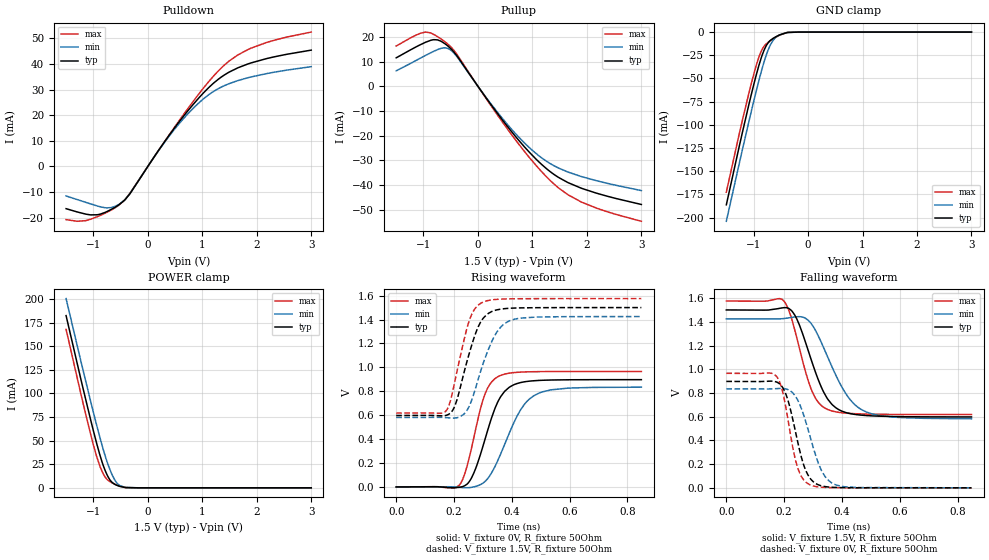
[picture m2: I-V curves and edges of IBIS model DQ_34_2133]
| [Disclaimer]  This software code and all associated documentation, comments
| or other information (collectively "Software") is provided
| "AS IS" without warranty of any kind. MICRON TECHNOLOGY, INC.
| ("MTI") EXPRESSLY DISCLAIMS ALL WARRANTIES EXPRESS OR IMPLIED,
| INCLUDING BUT NOT LIMITED TO, NONINFRINGEMENT OF THIRD PARTY
| RIGHTS, AND ANY IMPLIED WARRANTIES OF MERCHANTABILITY OR
| FITNESS FOR ANY PARTICULAR PURPOSE. MTI DOES NOT WARRANT THAT
| THE SOFTWARE WILL MEET YOUR REQUIREMENTS, OR THAT THE
| OPERATION OF THE SOFTWARE WILL BE UNINTERRUPTED OR ERROR-FREE.
| FURTHERMORE, MTI DOES NOT MAKE ANY REPRESENTATIONS REGARDING
| THE USE OR THE RESULTS OF THE USE OF THE SOFTWARE IN TERMS OF
| ITS CORRECTNESS, ACCURACY, RELIABILITY, OR OTHERWISE. THE
| ENTIRE RISK ARISING OUT OF USE OR PERFORMANCE OF THE SOFTWARE
| REMAINS WITH YOU. IN NO EVENT SHALL MTI, ITS AFFILIATED
| COMPANIES OR THEIR SUPPLIERS BE LIABLE FOR ANY DIRECT,
| INDIRECT, CONSEQUENTIAL, INCIDENTAL, OR SPECIAL DAMAGES
| (INCLUDING, WITHOUT LIMITATION, DAMAGES FOR LOSS OF PROFITS,
| BUSINESS INTERRUPTION, OR LOSS OF INFORMATION) ARISING OUT OF
| YOUR USE OF OR INABILITY TO USE THE SOFTWARE, EVEN IF MTI HAS
| BEEN ADVISED OF THE POSSIBILITY OF SUCH DAMAGES. Because some
| jurisdictions prohibit the exclusion or limitation of
| liability for consequential or incidental damages, the above
| limitation may not apply to you.
| [Copyright] Copyright 2015 Micron Technology, Inc. All rights reserved.
| From v00h_v5p0.ibs, Micron Technology,Inc.
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| MODEL DQ_34_2133 (34 Ohm Data I/O with no ODT, 2133Mbps)
[Model]   DQ_34_2133
Model_type   I/O
Vinl = 615.000mV
Vinh = 885.000mV
Vmeas = 750.000mV
Vref = 750.000mV
Cref = 0.0pF
Rref = 25.000Ohm
|   typ   min   max
|C_comp   1.100pF   1.025pF   1.175pF
C_comp_pullup   0.5500pF   0.5125pF   0.5875pF
C_comp_pulldown   0.5500pF   0.5125pF   0.5875pF
[Model Spec]
| Input threshold voltage corners
Vinl   0.6150V   0.5775V   0.6525V
Vinh   0.8850V   0.8475V   0.9225V
| Measurement voltage corners
Vmeas   0.7500V   0.7125V   0.7875V
| Timing spec test load voltage corners
Vref   0.7500V   0.7125V   0.7875V
| Dynamic Overshoot Parameters from DDR3 Specification
D_overshoot_ampl_h   0.40   NA   NA
D_overshoot_ampl_l   0.40   NA   NA
D_overshoot_area_h   0.10n   NA   NA
D_overshoot_area_l   0.10n   NA   NA
[Receiver Thresholds]
Vth   =  0.750V
Vth_min  =  0.7350V
Vth_max  =  0.7650V
Vinh_ac  =  0.135V
Vinh_dc  =  0.100V
Vinl_ac  = -0.135V
Vinl_dc  = -0.100V
Tslew_ac =  5.000ns |Not specified, so set to high value
Threshold_sensitivity = 0.50
Reference_supply Pullup_ref
[Voltage Range]   1.5000V   1.4250V   1.5750V
[Pullup Reference]   1.5000V   1.4250V   1.5750V
| Junction Temperature (Ambient temp is 35C typ, 95C min, 0C max)
[Temperature Range]   50.0   110.0   0.0
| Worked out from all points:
|   slope of the pulldown table from 0 to 0.225 V, typ, clamps not added: 31.5 ohm
|   slope of the pullup table from 0 to 0.225 V, typ, clamps not added: 32.3 ohm
|   GND clamp passes 1 mA (typ) near -0.41 V on its own axis
|   POWER clamp passes 1 mA (typ) near -0.47 V on its own axis
|   falling waveform, V_fixture 1.5V, R_fixture 50Ohm: 20-80 % time 82.5ps typ, 103ps min, 66.7ps max; typ from 1.5 V to 0.598 V
|   rising waveform, V_fixture 0V, R_fixture 50Ohm: 20-80 % time 74.2ps typ, 95.9ps min, 59.2ps max; typ from 0 V to 0.897 V
|   rising waveform, V_fixture 1.5V, R_fixture 50Ohm: 20-80 % time 64.2ps typ, 74.3ps min, 55.2ps max; typ from 0.598 V to 1.5 V
|   falling waveform, V_fixture 0V, R_fixture 50Ohm: 20-80 % time 54ps typ, 65.6ps min, 45.5ps max; typ from 0.897 V to 0 V
[Pulldown]
|   Voltage   I(typ)   I(min)   I(max)
-1.5V     -16.49mA   -11.52mA   -20.75mA
-1.146V   -18.57mA   -13.97mA   -21.17mA
-929.8mV  -18.88mA   -15.41mA   -19.64mA
-589.5mV  -15.79mA   -15.5mA    -15.97mA
-332.9mV  -10.79mA   -10.73mA   -10.6mA
212mV     6.741mA    6.628mA    6.723mA
605.8mV   18.28mA    17.49mA    18.79mA
1.006V    28.36mA    26.13mA    30.19mA
1.291V    34mA       30.35mA    37.23mA
1.651V    38.5mA     33.52mA    43.51mA
1.896V    40.44mA    34.96mA    46.2mA
3V        45.43mA    38.98mA    52.49mA
[GND Clamp]
|   Voltage   I(typ)   I(min)   I(max)
-1.5V     -186.2mA   -204mA     -172.6mA
-1.273V   -125.9mA   -144.4mA   -112.4mA
-1.089V   -78.83mA   -97.28mA   -66.63mA
-989.7mV  -55.05mA   -72.82mA   -43.97mA
-906mV    -36.77mA   -53.14mA   -27.51mA
-813.3mV  -20.46mA   -33.31mA   -15.76mA
-737.6mV  -11.97mA   -20.09mA   -11.31mA
-647.9mV  -7.037mA   -9.445mA   -7.694mA
-568.5mV  -4.399mA   -4.62mA    -4.856mA
-388.5mV  -574.3uA   -621.3uA   -537.5uA
-148.7mV  -871nA     -2.88uA    -207.3nA
3V        0A         0A         0A
[Pullup]
|   Voltage   I(typ)   I(min)   I(max)
-1.5V     11.53mA    6.273mA    16.33mA
-959.8mV  17.85mA    12.53mA    21.97mA
-744mV    18.81mA    14.83mA    20.14mA
-522.4mV  15.75mA    15.01mA    16.49mA
-384.9mV  12.33mA    11.99mA    12.89mA
212mV     -6.585mA   -6.338mA   -6.941mA
632.5mV   -18.76mA   -17.75mA   -20mA
1.054V    -29.19mA   -26.95mA   -31.69mA
1.381V    -35.44mA   -31.98mA   -39.27mA
1.651V    -38.95mA   -34.69mA   -43.86mA
1.923V    -41.45mA   -36.69mA   -47.08mA
3V        -47.84mA   -42.22mA   -54.64mA
[POWER Clamp]
|   Voltage   I(typ)   I(min)   I(max)
-1.5V     182.5mA    200.6mA    168mA
-1.231V   115.6mA    134.8mA    100.1mA
-1.05V    72.19mA    91.8mA     56.79mA
-957mV    51.14mA    70.53mA    36.84mA
-882.6mV  35.49mA    54.1mA     23.47mA
-788.1mV  19.13mA    34.9mA     11.85mA
-699.2mV  8.758mA    19.92mA    6.751mA
-603.7mV  3.691mA    8.067mA    3.746mA
-516.8mV  1.636mA    2.488mA    1.648mA
-397.1mV  266.4uA    386.2uA    205.9uA
-148.7mV  480nA      2.052uA    92.39nA
3V        0A         0A         0A
[Ramp]
R_load = 50
|   typ   min   max
dV/dt_r 5.3830E-01/7.4172E-11   5.0061E-01/9.5600E-11   5.7940E-01/5.9244E-11
dV/dt_f 5.4136E-01/8.2212E-11   5.0565E-01/1.0317E-10   5.7432E-01/6.6562E-11
[Falling Waveform]
V_fixture = 1.5V
V_fixture_min = 1.425V
V_fixture_max = 1.575V
R_fixture = 50Ohm
C_fixture = 0F
|   Time   V(typ)   V(min)   V(max)
0s        1.5V       1.425V     1.575V
198ps     1.519V     1.427V     1.578V
216ps     1.513V     1.433V     1.497V
244ps     1.423V     1.443V     1.262V
294ps     1.078V     1.384V     829.4mV
318ps     911.8mV    1.281V     721.6mV
348ps     758.4mV    1.118V     663.5mV
418ps     631.8mV    777.3mV    629mV
484ps     609.5mV    639.9mV    622.1mV
848ps     597.7mV    582.3mV    617.8mV
[Rising Waveform]
V_fixture = 0V
V_fixture_min = 0V
V_fixture_max = 0V
R_fixture = 50Ohm
C_fixture = 0F
|   Time   V(typ)   V(min)   V(max)
0s        1.307uV    3.186uV    -730.2nV
218ps     -2.888mV   -3.291mV   14.05mV
236ps     8.949mV    -6.42mV    101.8mV
260ps     73.2mV     -3.551mV   319.9mV
306ps     389mV      43.18mV    769.5mV
356ps     732.5mV    246.2mV    927.2mV
390ps     831.5mV    443.3mV    951mV
430ps     872.7mV    643.8mV    960.2mV
494ps     890.8mV    784.9mV    964.3mV
848ps     897.2mV    834.4mV    965.7mV
[Rising Waveform]
V_fixture = 1.5V
V_fixture_min = 1.425V
V_fixture_max = 1.575V
R_fixture = 50Ohm
C_fixture = 0F
|   Time   V(typ)   V(min)   V(max)
0s        597.5mV    581.2mV    617.7mV
174ps     599.6mV    579.6mV    641.1mV
188ps     619.2mV    576.9mV    725mV
204ps     684.6mV    576.9mV    895.5mV
244ps     1.043V     637.9mV    1.321V
268ps     1.238V     775mV      1.474V
298ps     1.401V     1.013V     1.543V
348ps     1.481V     1.295V     1.569V
396ps     1.495V     1.393V     1.573V
848ps     1.5V       1.425V     1.575V
[Falling Waveform]
|Gnd
V_fixture = 0V
V_fixture_min = 0V
V_fixture_max = 0V
R_fixture = 50Ohm
C_fixture = 0F
|   Time   V(typ)   V(min)   V(max)
0s        897.2mV    834.6mV    965.7mV
174ps     892.1mV    836.7mV    938.7mV
192ps     855.8mV    838.1mV    836.5mV
208ps     776.2mV    832.6mV    649mV
244ps     419.5mV    752.6mV    191mV
268ps     190.3mV    609.5mV    66.13mV
288ps     86.59mV    446.4mV    27.33mV
330ps     16.15mV    141.8mV    5.165mV
378ps     3.206mV    25.72mV    1.313mV
848ps     5.177uV    22.8uV     1.707uV
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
